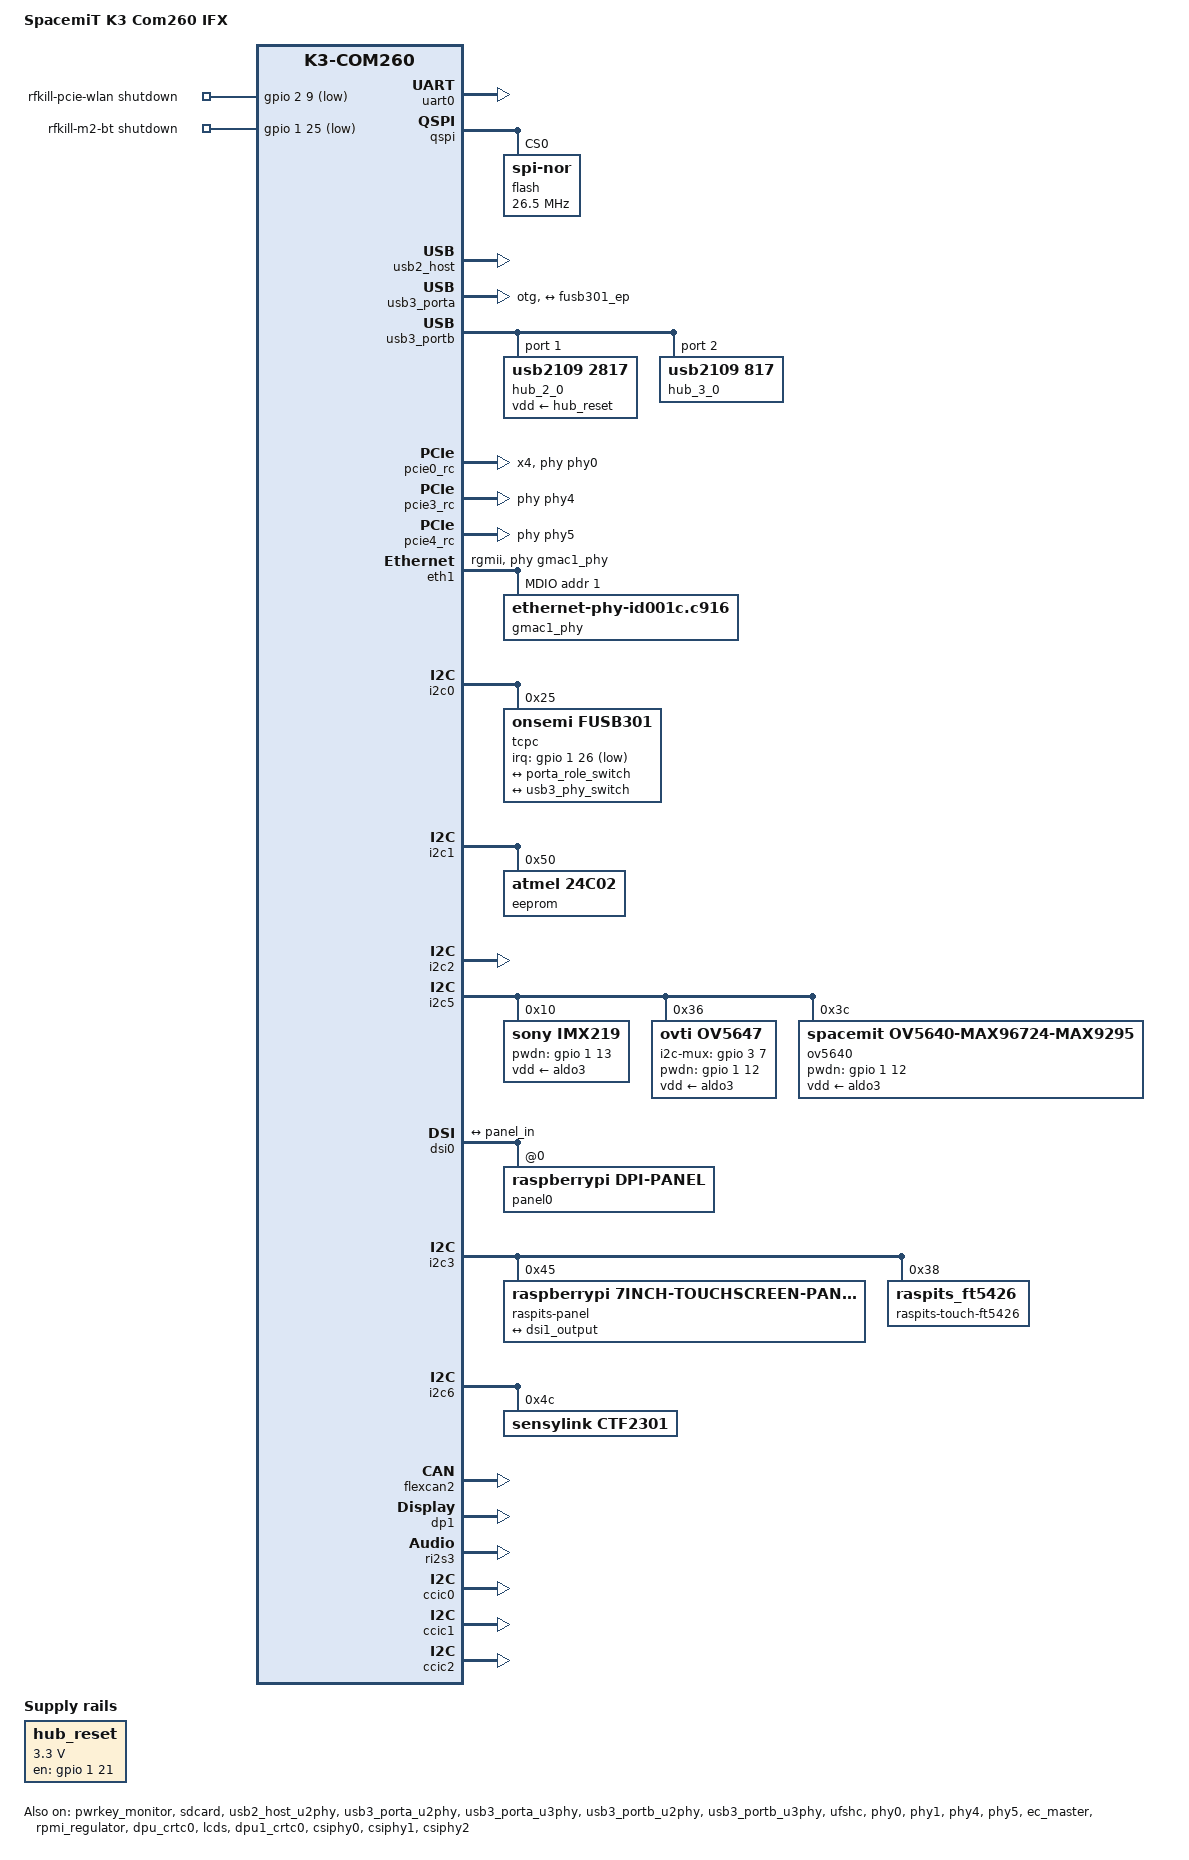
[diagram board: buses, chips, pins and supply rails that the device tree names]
// SPDX-License-Identifier: (GPL-2.0 OR MIT)
/* Copyright (c) 2025 Spacemit, Inc */

#include "k3.dtsi"
#include "k3-rdomain.dtsi"
#include "k3-pinctrl.dtsi"
#include "k3_opp_table.dtsi"
#include "lcd/lcd_tc358762xbg_dpi_800x480.dtsi"
#include "lcd_dsi_panel.dtsi"
#include "k3-dp1.dtsi"
#include "k3-camera.dtsi"

/ {
	model = "SpacemiT K3 Com260 IFX";
	compatible = "spacemit,k3-com260-ifx";
	cpus: cpus {
		#address-cells = <1>;
		#size-cells = <0>;
		timebase-frequency = <24000000>;
	};
/*
	p12v: p12v {
		compatible = "regulator-fixed";
		regulator-name = "p12v";
		regulator-always-on;
		regulator-boot-on;
		regulator-min-microvolt = <12000000>;
		regulator-max-microvolt = <12000000>;
		status = "disabled";
	};

	p5v: p5v {
		compatible = "regulator-fixed";
		regulator-name = "p5v";
		regulator-always-on;
		regulator-boot-on;
		regulator-min-microvolt = <5000000>;
		regulator-max-microvolt = <5000000>;
		vin-supply = <&p12v>;
		status = "disabled";
	};

	p1v8: p1v8 {
		compatible = "regulator-fixed";
		regulator-name = "p1v8";
		regulator-always-on;
		regulator-boot-on;
		regulator-min-microvolt = <1800000>;
		regulator-max-microvolt = <1800000>;
		vin-supply = <&p5v>;
		status = "disabled";
	};

	p3v3: p3v3 {
		compatible = "regulator-fixed";
		regulator-name = "p3v3";
		regulator-always-on;
		regulator-boot-on;
		regulator-min-microvolt = <3300000>;
		regulator-max-microvolt = <3300000>;
		vin-supply = <&p5v>;
		status = "disabled";
	};
*/
	chosen {
		bootargs = "earlycon=sbi console=ttyS0,115200 loglevel=8 random.trust_bootloader=1 unaligned_scalar_speed=fast unaligned_vector_speed=fast";
		rng-seed = <0x25d69b2 0xff555073 0xd23238ea 0x57aa5455 0x792478ed 0xa744f28e 0x6ba4fc54 0xa2bf20fc>;
		stdout-path = "serial0:115200";
	};

	rfkill-pcie-wlan {
		compatible = "rfkill-gpio";
		label = "rfkill-pcie-wlan";
		pinctrl-names = "default";
		pinctrl-0 = <&m2_wdis1_cfg>;
		radio-type = "wlan";
		shutdown-gpios = <&gpio 2 9 GPIO_ACTIVE_LOW>;
	};

	rfkill-m2-bt {
		compatible = "rfkill-gpio";
		label = "rfkill-m2-bt";
		pinctrl-names = "default";
		pinctrl-0 = <&m2_wdis2_cfg>;
		radio-type = "bluetooth";
		shutdown-gpios = <&gpio 1 25 GPIO_ACTIVE_LOW>;
	};

	hub_reset: hub-reset {
		compatible = "regulator-fixed";
		regulator-name = "hub-reset";
		regulator-min-microvolt = <3300000>;
		regulator-max-microvolt = <3300000>;
		enable-active-high;
		regulator-boot-on;
		gpio = <&gpio 1 21 0>;
	};
};

&rpmi_pwrkey {
	status = "disabled";
};

&pwrkey_monitor {
	pinctrl-names = "default";
	pinctrl-0 = <&pwrkey_monitor_cfg>;
	monitor-gpios = <&gpio 2 20 GPIO_ACTIVE_HIGH>;
	interrupts-extended = <&pinctrl 84 IRQ_TYPE_EDGE_BOTH>;
	status = "okay";
};

&resmem {
	/* global autoconfigured region for contiguous allocations */
	cmamem: linux,cma {
		compatible = "shared-dma-pool";
		reusable;
		size = <0 0x20000000>;
		alloc-ranges = <1 0x40000000 0 0x20000000>;
		linux,cma-default;
	};
};

&pinctrl {
	can2-1-cfg {
		can2-0-pins {
			power-source = <3300>;
		};
	};

	gmac1-cfg {
		/delete-node/ gmac1-2-pins;
		/delete-node/ gmac1-4-pins;
		/delete-node/ gmac1-5-pins;

		gmac1-0-pins {
			power-source = <1800>;
		};

		gmac1-1-pins {
			power-source = <1800>;
		};

		gmac1-3-pins {
			power-source = <1800>;
		};

		gmac1-6-pins {
			pinmux = <K3_PADCONF(37, 0)>;

			bias-disable;
			drive-strength = <25>;
			power-source = <1800>;
		};
	};

	i2c0-0-cfg {
		i2c0-0-pins {
			power-source = <3300>;
		};
	};

	i2c1-1-cfg {
		i2c1-0-pins {
			power-source = <1800>;
		};
	};

	i2c2-1-cfg {
		i2c2-0-pins {
			power-source = <1800>;
		};
	};

	i2c3-2-cfg {
		i2c3-0-pins {
			power-source= <3300>;
		};
	};

	i2c5_2_cfg: i2c5-2-cfg {
		i2c5-0-pins {
			power-source = <3300>;
		};
	};

	i2c6-1-cfg {
		i2c6-0-pins {
			power-source = <3300>;
		};
	};

	fusb301_cfg: fusb301-cfg {
		fusb301-0-pins {
			pinmux = <K3_PADCONF(58, 0)>;

			bias-pull-up;
			drive-strength = <25>;
			power-source = <1800>;
		};
	};

	pwrkey_monitor_cfg: pwrkey_monitor-cfg {
		pwrkey-monitor-pins {
			pinmux = <K3_PADCONF(84, 0)>;

			bias-pull-up;
			drive-strength = <25>;
			power-source = <1800>;
		};
	};

	dp1_3_cfg: dp1-3-cfg {
		dp1-0-pins {
			pinmux = <K3_PADCONF(72, 4)>;	/* dp1 hpd */

			bias-disable;			/* normal bias disable */
			drive-strength = <25>;		/* DS8 */
			power-source = <3300>;
		};
	};

	pcie0-1-cfg {
		pcie0-0-pins {
			pinmux = <K3_PADCONF(79, 5)>,	/* pcie0 perst */
				<K3_PADCONF(81, 5)>;	/* pcie0 clkreq */

			bias-pull-up;			/* normal bias disable */
			drive-strength = <38>;		/* DS8 */
			power-source = <3300>;
		};
	};

	pcie3-0-cfg {
		pcie3-0-pins {
			pinmux = <K3_PADCONF(3, 4)>,	/* pcie3 perst */
				 <K3_PADCONF(5, 4)>;	/* pcie3 clkreq */

			bias-pull-up;			/* normal bias disable */
			drive-strength = <38>;		/* DS8 */
			power-source = <3300>;
		};
	};

	pcie4-1-cfg {
		pcie4-0-pins {
			pinmux = <K3_PADCONF(76, 5)>,	/* pcie4 perst */
				<K3_PADCONF(80, 5)>,	/* pcie4 wake */
				<K3_PADCONF(78, 5)>;	/* pcie4 clkreq */

			bias-pull-up;			/* normal bias disable */
			drive-strength = <38>;		/* DS8 */
			power-source = <3300>;
		};
	};

	m2_wdis1_cfg: m2-wdis1-cfg {
		m2-wdis1-pins {
			pinmux = <K3_PADCONF(73, 0)>;

			bias-pull-up;
			drive-strength = <38>;
			power-source = <3300>;
		};
	};

	m2_wdis2_cfg: m2-wdis2-cfg {
		m2-wdis2-pins {
			pinmux = <K3_PADCONF(57, 0)>;

			bias-pull-up;
			drive-strength = <38>;
			power-source = <3300>;
		};
	};

	qspi-cfg {
		qspi-pins {
			power-source = <1800>;
		};
	};

	qspi-cs0-cfg {
		qspi-cs0-pins {
			power-source = <1800>;
		};
	};

	cam0_2_cfg: cam0-2-cfg {
               cam1-0-pins {
                        power-source = <1800>;
                };
        };

	cam_mux_cfg: cam-mux-cfg {
		cam-mux-pins {
			pinmux = <K3_PADCONF(103, 0)>;

			bias-pull-up;
			drive-strength = <25>;
			power-source = <1800>;
		};
	};

	mmc1_cd_cfg: mmc1-cd-cfg {
		mmc1-cd-pins {
			pinmux = <K3_PADCONF(4, 0)>;	/* cd gpio */

			bias-pull-up = <1>;
			drive-strength = <8>;
			power-source = <3300>;
		};
	};
};

&uart0 {
	pinctrl-names = "default";
	pinctrl-0 = <&uart0_0_cfg>;
	status = "okay";
};

&qspi {
	pinctrl-names = "default";
	pinctrl-0 = <&qspi_cfg &qspi_cs0_cfg>;
	status = "okay";

	flash@0 {
		compatible = "jedec,spi-nor";
		reg = <0>;
		spi-max-frequency = <26500000>;
		m25p,fast-read;
		broken-flash-reset;
		status = "okay";
	};
};

&sdcard {
	pinctrl-names = "default","uhs";
	pinctrl-0 = <&mmc1_cfg &mmc1_cd_cfg>;
	pinctrl-1 = <&mmc1_uhs_cfg &mmc1_cd_cfg>;
	bus-width = <4>;
	wp-inverted;
	cd-gpios = <&gpio 0 4 GPIO_ACTIVE_HIGH>;
	vmmc-supply = <&p3v3>;
	vqmmc-supply = <&aldo1>;
	no-mmc;
	no-sdio;
	clock-frequency = <204800000>;
	spacemit,tx_delaycode = <0x1f>;
	status = "okay";
};

&usb2_host_u2phy {
	status = "okay";
};

&usb2_host {
	/* M2 BT */
	status = "okay";
};

&usb3_porta_u2phy {
	status = "okay";
};

&usb3_porta_u3phy {
	orientation-switch;
	status = "okay";

	port {
		usb3_phy_switch: endpoint {
			remote-endpoint = <&fusb301_sw_ep>;
		};
	};
};

&usb3_porta {
	dr_mode = "otg";
	usb-role-switch;
	role-switch-default-mode = "peripheral";
	monitor-vbus;
	reset-on-resume;
	status = "okay";

	ports {
		#address-cells = <1>;
		#size-cells = <0>;
		port@0 {
			reg = <0x0>;
			porta_role_switch: endpoint {
				remote-endpoint = <&fusb301_ep>;
			};
		};
	};
};

&usb3_portb_u2phy {
	status = "okay";
};

&usb3_portb_u3phy {
	status = "okay";
};

&usb3_portb {
	status = "okay";
	#address-cells = <1>;
	#size-cells = <0>;
	reset-on-resume;
	/* wakeup-source; */

	/* VL817 USB2.0 hub (4 ports) */
	hub_2_0: hub@1 {
		compatible = "usb2109,2817";
		reg = <1>;
		peer-hub = <&hub_3_0>;
		vdd-supply = <&hub_reset>;
	};

	/* VL817 USB3.0 hub (4 ports) */
	hub_3_0: hub@2 {
		compatible = "usb2109,817";
		reg = <2>;
		peer-hub = <&hub_2_0>;
	};
};

&ufshc {
	status = "okay";
};

&phy0 {
	status = "okay";
};

&phy1 {
	status = "okay";
};

&phy4 {
	status = "okay";
};

&phy5 {
	status = "okay";
};

&pcie0_rc {
	pinctrl-names = "default";
	pinctrl-0 = <&pcie0_1_cfg>;
	phys = <&phy0>, <&phy1>;
	phy-names = "phy0", "phy1";

	num-lanes = <4>;
	status = "okay";
};

&pcie3_rc {
	pinctrl-names = "default";
	pinctrl-0 = <&pcie3_0_cfg>;
	phys = <&phy4>;
	phy-names = "phy4";

	status = "okay";
};

&pcie4_rc {
	pinctrl-names = "default";
	pinctrl-0 = <&pcie4_1_cfg>;
	phys = <&phy5>;
	phy-names = "phy5";

	status = "okay";
};

&ec_master {
	status = "okay";

        master0 {
		main-device = <&eth1>;
        };
};

&eth1 {
	pinctrl-names = "default";
	pinctrl-0 = <&gmac1_cfg>;

	max-speed = <1000>;
	phy-mode = "rgmii";
	phy-handle = <&gmac1_phy>;
	snps,reset-gpios = <&gpio 1 5 GPIO_ACTIVE_LOW>;
	snps,reset-delays-us = <0 20000 100000>;

	spacemit,wake-irq-enable;

	spacemit,clk-tuning-enable;
	spacemit,clk-tuning-by-delayline;
	spacemit,tx-phase = <47>;
	spacemit,rx-phase = <53>;

	status = "okay";

	mdio {
		#address-cells = <1>;
		#size-cells = <0>;
		compatible = "snps,dwmac-mdio";

		gmac1_phy: ethernet-phy@1 {
			compatible = "ethernet-phy-id001c.c916",
				     "ethernet-phy-ieee802.3-c22";
			reg = <1>;

			leds {
				#address-cells = <1>;
				#size-cells = <0>;

				led@1 {
					reg = <1>;
					function = LED_FUNCTION_LAN;
					color = <LED_COLOR_ID_GREEN>;
					default-state = "keep";
				};

				led@2 {
					reg = <2>;
					function = LED_FUNCTION_LAN;
					color = <LED_COLOR_ID_YELLOW>;
					default-state = "keep";
				};
			};
		};
	};
};

&rpmi_regulator {
	status = "okay";
	pinctrl-names = "default";
	pinctrl-0 = <&i2c8_cfg_rcpu>;

	pvin: pvin {
		regulator-min-microvolt = <5000000>;
		regulator-max-microvolt = <5000000>;
		regulator-always-on;
		regulator-boot-on;
	};

	edcdc2: edcdc2 {
		regulator-min-microvolt = <534000>;
		regulator-max-microvolt = <1005000>;
		regulator-always-on;
		regulator-boot-on;
	};

	edcdc1: edcdc1 {
		regulator-min-microvolt = <534000>;
		regulator-max-microvolt = <1005000>;
		regulator-always-on;
		regulator-boot-on;
	};

	p3v3: p3v3 {
		regulator-min-microvolt = <3300000>;
		regulator-max-microvolt = <3300000>;
		regulator-always-on;
		regulator-boot-on;
	};

	p1v8: p1v8 {
		regulator-min-microvolt = <1800000>;
		regulator-max-microvolt = <1800000>;
		regulator-always-on;
		regulator-boot-on;
	};

	dcdc1: dcdc1 {
		regulator-min-microvolt = <1050000>;
		regulator-max-microvolt = <1050000>;
		regulator-always-on;
		regulator-boot-on;
	};

	dcdc3: dcdc3 {
		regulator-min-microvolt = <800000>;
		regulator-max-microvolt = <800000>;
		regulator-always-on;
		regulator-boot-on;
	};

	dcdc4: dcdc4 {
		regulator-min-microvolt = <2100000>;
		regulator-max-microvolt = <2100000>;
		regulator-always-on;
		regulator-boot-on;
	};

	dcdc5: dcdc5 {
		regulator-min-microvolt = <1800000>;
		regulator-max-microvolt = <1800000>;
		regulator-always-on;
		regulator-boot-on;
	};

	dcdc6: dcdc6 {
		regulator-min-microvolt = <500000>;
		regulator-max-microvolt = <600000>;
		regulator-always-on;
		regulator-boot-on;
	};

	aldo1: aldo1 {
		regulator-min-microvolt = <1800000>;
		regulator-max-microvolt = <3300000>;
		regulator-always-on;
		regulator-boot-on;
	};

	aldo2: aldo2 {
		regulator-min-microvolt = <1800000>;
		regulator-max-microvolt = <1800000>;
		regulator-always-on;
		regulator-boot-on;
	};

	aldo3: aldo3 {
		regulator-min-microvolt = <500000>;
		regulator-max-microvolt = <3400000>;
	};

	aldo4: aldo4 {
		regulator-min-microvolt = <3300000>;
		regulator-max-microvolt = <3300000>;
		regulator-always-on;
		regulator-boot-on;
	};

	dldo1: dldo1 {
		regulator-min-microvolt = <1200000>;
		regulator-max-microvolt = <1200000>;
		regulator-always-on;
		regulator-boot-on;
	};

	dldo2: dldo2 {
		regulator-min-microvolt = <900000>;
		regulator-max-microvolt = <900000>;
		regulator-always-on;
		regulator-boot-on;
	};

	dldo3: dldo3 {
		regulator-min-microvolt = <800000>;
		regulator-max-microvolt = <800000>;
		regulator-always-on;
		regulator-boot-on;
	};

	dldo4: dldo4 {
		regulator-min-microvolt = <1800000>;
		regulator-max-microvolt = <1800000>;
		regulator-always-on;
		regulator-boot-on;
	};

	dldo5: dldo5 {
		regulator-min-microvolt = <1800000>;
		regulator-max-microvolt = <1800000>;
		regulator-always-on;
		regulator-boot-on;
	};

	dldo6: dldo6 {
		regulator-min-microvolt = <1800000>;
		regulator-max-microvolt = <1800000>;
		regulator-always-on;
		regulator-boot-on;
	};

	dldo7: dldo7 {
		regulator-min-microvolt = <1800000>;
		regulator-max-microvolt = <1800000>;
		regulator-always-on;
		regulator-boot-on;
	};

	pwr_x100: pwr_x100 {
		regulator-min-microvolt = <3300000>;
		regulator-max-microvolt = <3300000>;
		regulator-always-on;
		regulator-boot-on;
	};

	pwr_a100: pwr_a100 {
		regulator-min-microvolt = <3300000>;
		regulator-max-microvolt = <3300000>;
		regulator-always-on;
		regulator-boot-on;
	};

	pwr_ext: pwr_ext {
		regulator-min-microvolt = <3300000>;
		regulator-max-microvolt = <3300000>;
		regulator-always-on;
		regulator-boot-on;
	};
};

&thermal_zones {
	thermal_top {
		polling-delay = <1000>;
		polling-delay-passive = <250>;
		thermal-sensors = <&thermal 0>;

		trips {
			thermal_top_trip0: thermal_top-trip0 {
				temperature = <40000>;
				hysteresis = <5000>;
				type = "passive";
			};
		};
	};

	thermal_vpu {
		polling-delay = <1000>;
		polling-delay-passive = <250>;
		thermal-sensors = <&thermal 2>;

		trips {
			thermal_vpu_trip0: thermal_vpu-trip0 {
				temperature = <40000>;
				hysteresis = <5000>;
				type = "passive";
			};
		};
	};

	thermal_gpu {
		polling-delay = <1000>;
		polling-delay-passive = <500>;
		thermal-sensors = <&thermal 3>;

		trips {
			gpu_alert0: gpu-alert0 {
				temperature = <65000>;
				hysteresis = <2000>;
				type = "passive";
			};

			gpu_alert1: gpu-alert1 {
				temperature = <75000>;
				hysteresis = <2000>;
				type = "passive";
			};

			gpu_alert2: gpu-alert2 {
				temperature = <85000>;
				hysteresis = <2000>;
				type = "passive";
			};

			gpu_crit: gpu-crit {
				temperature = <115000>;
				hysteresis = <2000>;
				type = "critical";
			};
		};

		cooling-maps {
			map0 {
				trip = <&gpu_alert0>;
				cooling-device = <&imggpu 0 1>;
			};

			map1 {
				trip = <&gpu_alert1>;
				cooling-device = <&imggpu 2 3>;
			};

			map2 {
				trip = <&gpu_alert2>;
				cooling-device = <&imggpu 4 5>;
			};
		};
	};

	thermal_cluster0 {
		polling-delay = <1000>;
		polling-delay-passive = <250>;
		thermal-sensors = <&thermal 4>;

		trips {
			thermal_cluster0_trip0: thermal_cluster0-trip0 {
				temperature = <35000>;
				hysteresis = <5000>;
				type = "active";
			};

			thermal_cluster0_trip1: thermal_cluster0-trip1 {
				temperature = <40000>;
				hysteresis = <5000>;
				type = "passive";
			};

			thermal_cluster0_trip2: thermal_cluster0-trip2 {
				temperature = <50000>;
				hysteresis = <5000>;
				type = "passive";
			};

			thermal_cluster0_trip3: thermal_cluster0-trip3 {
				temperature = <60000>;
				hysteresis = <5000>;
				type = "passive";
			};

			thermal_cluster0_trip4: thermal_cluster0-trip4 {
				temperature = <70000>;
				hysteresis = <5000>;
				type = "passive";
			};
		};

		cooling-maps {
			map0 {
				trip = <&thermal_cluster0_trip0>;
				cooling-device = <&ctf2301 0 50>;
			};

			map1 {
				trip = <&thermal_cluster0_trip1>;
				cooling-device = <&ctf2301 64 75>;
			};

			map2 {
				trip = <&thermal_cluster0_trip2>;
				cooling-device = <&ctf2301 102 128>;
			};

			map3 {
				trip = <&thermal_cluster0_trip3>;
				cooling-device = <&ctf2301 179 204>;
			};

			map4 {
				trip = <&thermal_cluster0_trip4>;
				cooling-device = <&ctf2301 255 255>;
			};
		};
	};

	thermal_cluster1 {
		polling-delay = <1000>;
		polling-delay-passive = <250>;
		thermal-sensors = <&thermal 5>;

		trips {
			thermal_cluster1_trip0: thermal_cluster1-trip0 {
				temperature = <85000>;
				hysteresis = <2000>;
				type = "active";
			};

			thermal_cluster1_trip1: thermal_cluster1-trip1 {
				temperature = <95000>;
				hysteresis = <2000>;
				type = "passive";
			};

			thermal_cluster1_trip2: thermal_cluster1-trip2 {
				temperature = <105000>;
				hysteresis = <2000>;
				type = "passive";
			};

			thermal_cluster1_trip3: thermal_cluster1-trip3 {
				temperature = <115000>;
				hysteresis = <2000>;
				type = "critical";
			};
		};

		cooling-maps {
			map0 {
				trip = <&thermal_cluster1_trip0>;
				cooling-device = <&cpu_0 2 2>,
						<&cpu_1 2 2>,
						<&cpu_2 2 2>,
						<&cpu_3 2 2>,
						<&cpu_4 2 2>,
						<&cpu_5 2 2>,
						<&cpu_6 2 2>,
						<&cpu_7 2 2>;
			};

			map1 {
				trip = <&thermal_cluster1_trip1>;
				cooling-device = <&cpu_0 3 5>,
						<&cpu_1 3 5>,
						<&cpu_2 3 5>,
						<&cpu_3 3 5>,
						<&cpu_4 3 5>,
						<&cpu_5 3 5>,
						<&cpu_6 3 5>,
						<&cpu_7 3 5>;
			};

			map2 {
				trip = <&thermal_cluster1_trip2>;
				cooling-device = <&cpu_0 6 8>,
						<&cpu_1 6 8>,
						<&cpu_2 6 8>,
						<&cpu_3 6 8>,
						<&cpu_4 6 8>,
						<&cpu_5 6 8>,
						<&cpu_6 6 8>,
						<&cpu_7 6 8>;
			};
		};
	};

	thermal_cluster2 {
		polling-delay = <1000>;
		polling-delay-passive = <250>;
		thermal-sensors = <&thermal 6>;

		trips {
			thermal_cluster2_trip0: thermal_cluster2-trip0 {
				temperature = <85000>;
				hysteresis = <2000>;
				type = "active";
			};

			thermal_cluster2_trip1: thermal_cluster2-trip1 {
				temperature = <95000>;
				hysteresis = <2000>;
				type = "passive";
			};

			thermal_cluster2_trip2: thermal_cluster2-trip2 {
				temperature = <105000>;
				hysteresis = <2000>;
				type = "passive";
			};

			thermal_cluster2_trip3: thermal_cluster2-trip3 {
				temperature = <115000>;
				hysteresis = <2000>;
				type = "critical";
			};
		};

		cooling-maps {
			map0 {
				trip = <&thermal_cluster2_trip0>;
				cooling-device = <&cpu_8 3 3>,
						<&cpu_9 3 3>,
						<&cpu_10 3 3>,
						<&cpu_11 3 3>,
						<&cpu_12 3 3>,
						<&cpu_13 3 3>,
						<&cpu_14 3 3>,
						<&cpu_15 3 3>;
			};

			map1 {
				trip = <&thermal_cluster2_trip1>;
				cooling-device = <&cpu_8 4 5>,
						<&cpu_9 4 5>,
						<&cpu_10 4 5>,
						<&cpu_11 4 5>,
						<&cpu_12 4 5>,
						<&cpu_13 4 5>,
						<&cpu_14 4 5>,
						<&cpu_15 4 5>;
			};

			map2 {
				trip = <&thermal_cluster2_trip2>;
				cooling-device = <&cpu_8 6 8>,
						<&cpu_9 6 8>,
						<&cpu_10 6 8>,
						<&cpu_11 6 8>,
						<&cpu_12 6 8>,
						<&cpu_13 6 8>,
						<&cpu_14 6 8>,
						<&cpu_15 6 8>;
			};
		};
	};

	thermal_cluster3 {
		polling-delay = <1000>;
		polling-delay-passive = <250>;
		thermal-sensors = <&thermal 7>;

		trips {
			thermal_cluster7_trip0: thermal_cluster7-trip0 {
				temperature = <40000>;
				hysteresis = <5000>;
				type = "passive";
			};
		};
	};
};

&i2c0 {
	pinctrl-names = "default";
	pinctrl-0 = <&i2c0_0_cfg>;
	status = "okay";

	tcpc@25 {
		compatible = "onsemi,fusb301";
		reg = <0x25>;
		pinctrl-names = "default";
		pinctrl-0 = <&fusb301_cfg>;
		irq-gpios = <&gpio 1 26 GPIO_ACTIVE_LOW>;
		suspend-vbus-off;
		status = "okay";

		typec_0: connector@0 {
			compatible = "usb-c-connector";
			label = "USB-C";
			data-role = "dual";
			power-role = "dual";
			try-power-role = "sink";
			typec-power-opmode = "default";
			pd-disable;

			ports {
				#address-cells = <0x1>;
				#size-cells = <0x0>;

				port@0 {
					reg = <0x0>;
					fusb301_ep: endpoint {
						remote-endpoint = <&porta_role_switch>;
					};
				};

				port@1 {
					reg = <0x1>;
					fusb301_sw_ep: endpoint {
						remote-endpoint = <&usb3_phy_switch>;
					};
				};
			};
		};
	};
};

&i2c1 {
	pinctrl-names = "default";
	pinctrl-0 = <&i2c1_1_cfg>;
	status = "okay";

	eeprom@50 {
		compatible = "atmel,24c02";
		reg = <0x50>;
		read-only;
		status = "okay";

		nvmem-layout {
			compatible = "onie,tlv-layout";

			product_name: product-name {
			};
		};
	};
};

&i2c2 {
	pinctrl-names = "default";
	pinctrl-0 = <&i2c2_1_cfg>;
	status = "okay";
};

&i2c5 {
	status = "okay";
	pinctrl-names = "default";
	pinctrl-0 = <&i2c5_2_cfg>;

	imx219@10 {
		compatible = "sony,imx219";
		reg = <0x10>;
		csi-id = <1>;
		vdd-supply = <&aldo3>;
		pwdn-gpios = <&gpio 1 13 GPIO_ACTIVE_HIGH>;
		status = "okay";
	};

	ov5647@36 {
		compatible = "ovti,ov5647";
		reg = <0x36>;
		csi-id = <2>;
		vdd-supply = <&aldo3>;
		pinctrl-names = "default";
		pinctrl-0 = <&cam_mux_cfg>;
		i2c-mux-gpios = <&gpio 3 7 GPIO_ACTIVE_HIGH>;
		pwdn-gpios = <&gpio 1 12 GPIO_ACTIVE_HIGH>;
		status = "okay";
	};

	ov5640@3c {
		compatible = "spacemit,ov5640-max96724-max9295";
		reg = <0x3c>;
		csi-id = <0>;
		vdd-supply = <&aldo3>;
		clock-names = "xclk";
		clocks = <&syscon_apmu CLK_APMU_ISIM_VCLK0>;
		pinctrl-names = "default";
		pinctrl-0 = <&cam0_2_cfg>;
		pwdn-gpios = <&gpio 1 12 GPIO_ACTIVE_HIGH>;
		deserializer-addr = <0x27>;
		serializer-base-addr = <0x41>;
		status = "okay";
	};

	imx415@37 {
		compatible = "sony,imx415";
		reg = <0x37>;
		csi-id = <2>;
		vdd-supply = <&aldo3>;
		pinctrl-names = "default";
		pinctrl-0 = <&cam_mux_cfg>;
		i2c-mux-gpios = <&gpio 3 7 GPIO_ACTIVE_HIGH>;
		pwdn-gpios = <&gpio 1 12 GPIO_ACTIVE_HIGH>;
		status = "disabled";
	};
};

&dpu_crtc0 {
	memory-region = <&dpu_resv0>;
	spacemit-dpu-bitclk = <700000000>;
	status = "okay";
};

&dpu_crtc1 {
	memory-region = <&dpu_resv1>;
	status = "disabled";
};

&dsi0 {
	status = "okay";

	ports {
		#address-cells = <1>;
		#size-cells = <0>;

		port@0 {
			reg = <0>;
			#address-cells = <1>;
			#size-cells = <0>;

			dsi1_output: endpoint@1 {
				reg = <1>;
				remote-endpoint = <&panel_in>;
			};
		};
	};

	panel0: panel0@0 {
			status = "ok";
			compatible = "raspberrypi,dpi-panel";
			force-attached = "lcd_tc358762xbg_dpi_800x480";
	};
};

&lcds {
	status = "okay";
};

&i2c3 {
	pinctrl-names = "default";
	pinctrl-0 = <&i2c3_2_cfg>;
	status = "okay";

	raspits-panel@45 {
		status = "okay";
		compatible = "raspberrypi,7inch-touchscreen-panel";
		reg = <0x45>;

		port {
			panel_in: endpoint {
				remote-endpoint = <&dsi1_output>;
			};
		};
	};

	raspits-touch-ft5426@38 {
		status = "okay";
		compatible = "raspits_ft5426";
		reg = <0x38>;
	};
};

&i2c6 {
	pinctrl-names = "default";
	pinctrl-0 = <&i2c6_1_cfg>;
	status = "okay";

	ctf2301: ctf2301@4c {
		compatible = "sensylink,ctf2301";
		reg = <0x4c>;
		#cooling-cells = <2>;
	};
};

&flexcan2 {
	clock-frequency = <80000000>;
	pinctrl-names = "default";
	pinctrl-0 = <&can2_1_cfg>;
	status = "okay";
};

/*
&i2c8 {
	pinctrl-names = "default";
	pinctrl-0 = <&i2c8_cfg>;
	status = "disabled";

	p1@41 {
		compatible = "spacemit,p1";
		reg = <0x41>;
		status = "disabled";

		vcc-supply = <&p5v>;

		regulators {
			compatible = "spacemit-p1-regulator";

			buck1: buck1 {
				regulator-min-microvolt = <1050000>;
				regulator-max-microvolt = <1050000>;
				regulator-ramp-delay = <5000>;
				regulator-always-on;
				regulator-boot-on;
			};

			buck2: buck2 {
				regulator-min-microvolt = <1050000>;
				regulator-max-microvolt = <1050000>;
				regulator-ramp-delay = <5000>;
				regulator-always-on;
				regulator-boot-on;
			};

			buck3: buck3 {
				regulator-min-microvolt = <800000>;
				regulator-max-microvolt = <800000>;
				regulator-ramp-delay = <5000>;
				regulator-always-on;
				regulator-boot-on;
			};

			buck4: buck4 {
				regulator-min-microvolt = <2100000>;
				regulator-max-microvolt = <2100000>;
				regulator-ramp-delay = <5000>;
				regulator-always-on;
				regulator-boot-on;
			};

			buck5: buck5 {
				regulator-min-microvolt = <1800000>;
				regulator-max-microvolt = <1800000>;
				regulator-ramp-delay = <5000>;
				regulator-always-on;
				regulator-boot-on;
			};

			buck6: buck6 {
				regulator-min-microvolt = <500000>;
				regulator-max-microvolt = <500000>;
				regulator-ramp-delay = <5000>;
				regulator-always-on;
				regulator-boot-on;
			};

			aldo1: aldo1 {
				regulator-min-microvolt = <1800000>;
				regulator-max-microvolt = <3300000>;
				regulator-always-on;
				regulator-boot-on;
			};

			aldo2: aldo2 {
				regulator-min-microvolt = <1800000>;
				regulator-max-microvolt = <1800000>;
				regulator-always-on;
				regulator-boot-on;
			};

			aldo3: aldo3 {
				regulator-min-microvolt = <500000>;
				regulator-max-microvolt = <3400000>;
			};

			aldo4: aldo4 {
				regulator-min-microvolt = <3300000>;
				regulator-max-microvolt = <3300000>;
				regulator-always-on;
				regulator-boot-on;
			};

			dldo1: dldo1 {
				regulator-min-microvolt = <1200000>;
				regulator-max-microvolt = <1200000>;
				regulator-always-on;
				regulator-boot-on;
			};

			dldo2: dldo2 {
				regulator-min-microvolt = <900000>;
				regulator-max-microvolt = <900000>;
				regulator-always-on;
				regulator-boot-on;
			};

			dldo3: dldo3 {
				regulator-min-microvolt = <800000>;
				regulator-max-microvolt = <800000>;
				regulator-always-on;
				regulator-boot-on;
			};

			dldo4: dldo4 {
				regulator-min-microvolt = <1800000>;
				regulator-max-microvolt = <1800000>;
				regulator-boot-on;
			};

			dldo5: dldo5 {
				regulator-min-microvolt = <1800000>;
				regulator-max-microvolt = <1800000>;
				regulator-always-on;
				regulator-boot-on;
			};

			dldo6: dldo6 {
				regulator-min-microvolt = <1800000>;
				regulator-max-microvolt = <1800000>;
				regulator-always-on;
				regulator-boot-on;
			};

			dldo7: dldo7 {
				regulator-min-microvolt = <1800000>;
				regulator-max-microvolt = <1800000>;
				regulator-always-on;
				regulator-boot-on;
			};
		};
	};
};
*/

&dpu1_crtc0 {
	memory-region = <&dpu_resv1>;
	status = "okay";
};

&dp1 {
	pinctrl-names = "default";
	pinctrl-0 = <&dp1_3_cfg>;
	status = "okay";
};

&adma3 {
	status = "okay";
};

&ri2s3 {
	status = "okay";
};

&sound_card_dp1 {
	status = "okay";
	simple-audio-card,name = "snd-dp1";
	simple-audio-card,mclk-fs = <512>;
	simple-audio-card,dai-link@0 {
		format = "left_j";
		frame-master = <&dp1_link_cpu>;
		bitclock-master = <&dp1_link_cpu>;
		dp1_link_codec: codec {
			playback-only;
			sound-dai = <&dp1>;
		};
	};
};

&ccic0 {
	status = "okay";
};

&ccic1 {
	status = "okay";
};

&ccic2 {
	status = "okay";
};

&ccic3 {
	status = "disabled";
};

&csiphy0 {
	status = "okay";
};

&csiphy1 {
	status = "okay";
};

&csiphy2 {
	spacemit,bifmode-enable = <0>;
	status = "okay";
};
